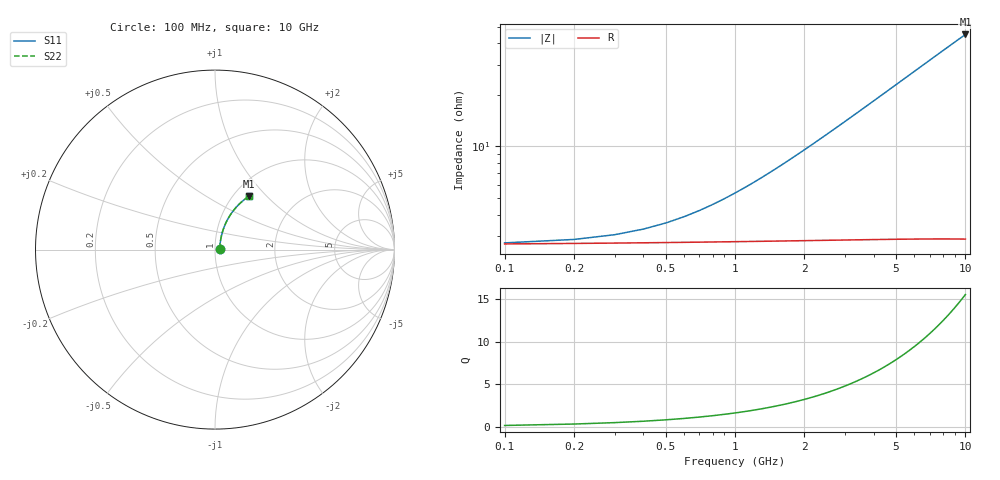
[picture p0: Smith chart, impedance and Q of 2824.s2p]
# Hz S RI R 50.00
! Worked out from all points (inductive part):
!   100 points, 100 MHz to 10 GHz, reference 50 ohm
!   read as one part in series: L = 726 pH near 1.9 GHz
!   highest Q = 15.6 at 10 GHz (marker M1), where L = 715 pH
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1e8  0.0263 0.00367  0.9737 -0.00499  0.9737 -0.00499  0.0263 0.00367
2e8  0.0265 0.00734  0.9734 -0.00998  0.9734 -0.00998  0.0265 0.00734
3e8  0.0268 0.011  0.9732 -0.015  0.9732 -0.015  0.0268 0.011
4e8  0.027 0.0147  0.973 -0.0199  0.973 -0.0199  0.027 0.0147
9e8  0.0286 0.0329  0.9714 -0.0448  0.9714 -0.0448  0.0286 0.0329
1.2e9  0.0299 0.0438  0.97 -0.0597  0.97 -0.0597  0.0299 0.0438
1.5e9  0.0315 0.0547  0.9683 -0.0745  0.9683 -0.0745  0.0315 0.0547
1.8e9  0.0335 0.0654  0.9662 -0.0892  0.9662 -0.0892  0.0335 0.0654
2.1e9  0.0357 0.0761  0.9638 -0.1039  0.9638 -0.1039  0.0357 0.0761
2.5e9  0.0393 0.0902  0.9602 -0.1233  0.9602 -0.1233  0.0393 0.0902
2.9e9  0.0433 0.1042  0.9559 -0.1425  0.9559 -0.1425  0.0433 0.1042
3.4e9  0.0492 0.1213  0.9498 -0.1662  0.9498 -0.1662  0.0492 0.1213
3.8e9  0.0544 0.1346  0.9443 -0.1849  0.9443 -0.1849  0.0544 0.1346
4.2e9  0.0602 0.1478  0.9382 -0.2033  0.9382 -0.2033  0.0602 0.1478
4.6e9  0.0664 0.1606  0.9317 -0.2214  0.9317 -0.2214  0.0664 0.1606
5.1e9  0.0749 0.1761  0.9227 -0.2436  0.9227 -0.2436  0.0749 0.1761
5.9e9  0.0899 0.1999  0.907 -0.2781  0.907 -0.2781  0.0899 0.1999
6.7e9  0.1065 0.2222  0.8894 -0.311  0.8894 -0.311  0.1065 0.2222
7.5e9  0.1245 0.2428  0.8704 -0.3423  0.8704 -0.3423  0.1245 0.2428
8.4e9  0.1463 0.264  0.8473 -0.3756  0.8473 -0.3756  0.1463 0.264
9.2e9  0.1667 0.2809  0.8256 -0.4032  0.8256 -0.4032  0.1667 0.2809
1e10  0.188 0.296  0.8029 -0.4292  0.8029 -0.4292  0.188 0.296
